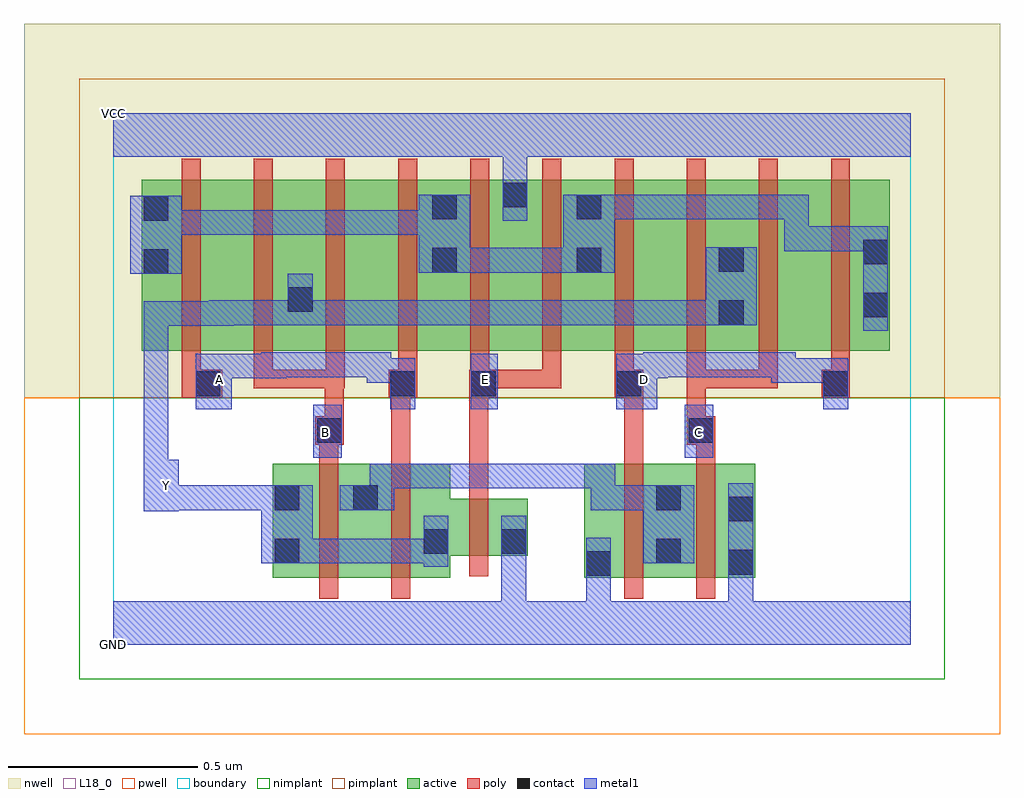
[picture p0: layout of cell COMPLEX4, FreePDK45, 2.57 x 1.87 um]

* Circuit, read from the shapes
.subckt COMPLEX4 A B C D E GND VCC Y
M1 n1 B Y VSUBS nfet w=0.3u l=0.05u
M2 Y A n1 VSUBS nfet w=0.3u l=0.05u
M3 GND E Y VSUBS nfet w=0.15u l=0.05u
M4 n1 D GND VSUBS nfet w=0.3u l=0.05u
M5 GND C n1 VSUBS nfet w=0.3u l=0.05u
M6 n2 A n3 n4 pfet w=0.45u l=0.05u
M7 Y B n2 n4 pfet w=0.45u l=0.05u
M8 n5 B Y n4 pfet w=0.45u l=0.05u
M9 n3 A n5 n4 pfet w=0.45u l=0.05u
M10 VCC E n3 n4 pfet w=0.45u l=0.05u m=2
M11 n6 D n3 n4 pfet w=0.45u l=0.05u
M12 Y C n6 n4 pfet w=0.45u l=0.05u
M13 n7 C Y n4 pfet w=0.45u l=0.05u
M14 n3 D n7 n4 pfet w=0.45u l=0.05u
.ends

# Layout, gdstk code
import gdstk
lib = gdstk.Library(unit=1e-6, precision=1e-09)
def R(c, l, rs):  # rectangles x0, y0, x1, y1
    for r in rs: c.add(gdstk.rectangle(r[:2], r[2:], *l))
def A(c, l, x, y, w, h, nx, ny, dx, dy):  # array of equal rectangles
    R(c, l, [(x+i*dx, y+j*dy, x+i*dx+w, y+j*dy+h) for i in range(nx) for j in range(ny)])
active = (1, 0)
pwell = (2, 0)
nwell = (3, 0)
nimplant = (4, 0)
pimplant = (5, 0)
poly = (9, 0)
contact = (10, 0)
metal1 = (11, 0)
L18_0 = (18, 0)
boundary = (235, 0)

complex4 = lib.new_cell('COMPLEX4')
R(complex4, active, [(0.42,0.177,0.702,0.477), (0.627,0.177,0.887,0.477), (1.24,0.177,1.315,0.477), (1.24,0.177,1.5,0.477), (1.425,0.177,1.69,0.477), (1.615,0.177,1.69,0.477), (0.42,0.2,0.495,0.477), (1.425,0.21,1.5,0.425), (0.812,0.235,1.092,0.385), (0.812,0.235,0.887,0.31), (1.017,0.235,1.092,0.385), (0.627,0.295,0.702,0.425), (0.075,0.775,0.15,1.2), (0.075,0.775,0.3,1.225), (0.3,0.775,0.53,1.225), (0.455,0.775,0.68,1.225), (0.68,0.775,0.91,1.225), (0.835,0.775,1.095,1.225), (1.02,0.775,1.29,1.225), (1.215,0.775,1.44,1.225), (1.44,0.775,1.665,1.225), (1.59,0.775,1.82,1.225), (1.59,0.775,1.665,1.07), (1.82,0.775,2.045,1.225), (1.97,0.775,2.045,1.2), (0.455,0.832,0.53,1.07), (0.835,0.857,0.91,1.2), (1.02,0.857,1.095,1.222), (1.215,0.857,1.29,1.2)])
R(complex4, pwell, [(-0.235,-0.235,2.335,0.65)])
R(complex4, nwell, [(-0.235,0.65,2.335,1.635)])
R(complex4, nimplant, [(-0.09,-0.09,2.19,0.65)])
R(complex4, pimplant, [(-0.09,0.65,2.19,1.49)])
A(complex4, poly, 0.18, 0.675, 0.05, 0.095, 10, 1, 0.19, 0)
A(complex4, poly, 0.18, 0.72, 0.05, 0.56, 10, 1, 0.19, 0)
R(complex4, poly, [(0.542,0.122,0.592,0.532), (0.732,0.122,0.782,0.532), (1.345,0.122,1.395,0.532), (1.535,0.122,1.585,0.532), (0.937,0.18,0.987,0.44), (0.937,0.39,0.987,0.7), (0.542,0.482,0.592,0.577), (0.732,0.482,0.782,0.7), (1.345,0.482,1.395,0.7), (1.535,0.482,1.585,0.577), (0.532,0.527,0.607,0.602), (1.51,0.527,1.585,0.602), (0.557,0.552,0.607,0.725), (1.51,0.552,1.56,0.725), (0.18,0.65,0.287,0.725), (0.725,0.65,0.8,0.725), (0.732,0.65,0.782,0.7), (0.732,0.65,0.782,0.7), (0.937,0.65,1.012,0.725), (1.32,0.65,1.395,0.725), (1.345,0.65,1.395,0.7), (1.345,0.65,1.395,0.7), (1.865,0.65,1.94,0.725), (0.37,0.675,0.42,0.725), (0.37,0.675,0.42,0.725), (0.37,0.675,0.42,0.725), (0.37,0.675,0.607,0.725), (0.557,0.675,0.61,0.725), (0.94,0.675,1.18,0.725), (0.94,0.675,0.99,0.725), (0.94,0.675,0.99,0.725), (1.13,0.675,1.18,0.725), (1.13,0.675,1.18,0.725), (1.13,0.675,1.18,0.725), (1.51,0.675,1.75,0.725), (1.51,0.675,1.56,0.725), (1.51,0.675,1.56,0.725), (1.51,0.675,1.56,0.725), (1.7,0.675,1.75,0.725)])
R(complex4, contact, [(1.245,0.182,1.31,0.247), (1.62,0.185,1.685,0.25), (0.425,0.215,0.49,0.28), (1.43,0.215,1.495,0.28), (0.817,0.24,0.882,0.305), (1.022,0.24,1.087,0.305), (1.62,0.325,1.685,0.39), (0.425,0.355,0.49,0.42), (0.632,0.355,0.697,0.42), (1.43,0.355,1.495,0.42), (0.537,0.532,0.602,0.597), (1.515,0.532,1.58,0.597), (0.217,0.655,0.282,0.72), (0.73,0.655,0.795,0.72), (0.942,0.655,1.007,0.72), (1.325,0.655,1.39,0.72), (1.87,0.655,1.935,0.72), (1.595,0.842,1.66,0.907), (1.975,0.862,2.04,0.927), (0.46,0.877,0.525,0.942), (0.08,0.977,0.145,1.042), (0.84,0.98,0.905,1.045), (1.22,0.98,1.285,1.045), (1.595,0.982,1.66,1.047), (1.975,1.002,2.04,1.067), (0.08,1.117,0.145,1.182), (0.84,1.12,0.905,1.185), (1.22,1.12,1.285,1.185), (1.025,1.152,1.09,1.217)])
R(complex4, metal1, [(0,0,2.1,0.115), (1.022,0.05,1.087,0.115), (1.022,0.05,1.087,0.115), (1.022,0.05,1.087,0.27), (1.245,0.05,1.31,0.212), (1.62,0.05,1.685,0.215), (1.245,0.147,1.31,0.212), (1.245,0.147,1.31,0.212), (1.245,0.147,1.31,0.282), (1.62,0.15,1.685,0.215), (1.62,0.15,1.685,0.215), (1.62,0.15,1.685,0.425), (0.817,0.205,0.882,0.34), (1.022,0.205,1.087,0.27), (1.022,0.205,1.087,0.27), (1.022,0.205,1.087,0.34), (0.39,0.215,0.525,0.42), (0.46,0.215,0.525,0.28), (0.46,0.215,0.525,0.28), (0.46,0.215,0.592,0.28), (0.527,0.215,0.592,0.28), (0.527,0.215,0.73,0.28), (0.665,0.215,0.73,0.28), (0.665,0.215,0.73,0.28), (0.665,0.215,0.73,0.28), (0.665,0.215,0.882,0.28), (1.395,0.215,1.53,0.42), (0.08,0.352,0.172,0.487), (0.107,0.355,0.317,0.42), (0.252,0.355,0.317,0.42), (0.252,0.355,0.317,0.42), (0.252,0.355,0.317,0.42), (0.252,0.355,0.455,0.42), (0.39,0.355,0.455,0.42), (0.39,0.355,0.455,0.42), (0.39,0.355,0.455,0.42), (0.39,0.355,0.455,0.42), (0.597,0.355,0.732,0.42), (0.667,0.355,0.74,0.42), (0.675,0.355,0.74,0.477), (1.257,0.355,1.46,0.42), (1.257,0.355,1.322,0.477), (0.675,0.412,0.95,0.477), (0.885,0.412,0.95,0.477), (0.885,0.412,0.95,0.477), (0.885,0.412,0.95,0.477), (0.885,0.412,1.087,0.477), (1.022,0.412,1.087,0.477), (1.022,0.412,1.087,0.477), (1.022,0.412,1.087,0.477), (1.022,0.412,1.322,0.477), (1.257,0.412,1.322,0.477), (1.257,0.412,1.322,0.477), (0.08,0.422,0.145,0.905), (0.527,0.492,0.602,0.632), (1.505,0.492,1.58,0.632), (0.217,0.62,0.312,0.767), (0.73,0.62,0.795,0.755), (0.942,0.62,1.012,0.767), (1.325,0.62,1.432,0.767), (1.87,0.62,1.935,0.755), (0.667,0.69,0.732,0.77), (0.667,0.69,0.795,0.755), (1.732,0.69,1.797,0.755), (1.732,0.69,1.797,0.755), (1.732,0.69,1.935,0.755), (1.732,0.69,1.797,0.77), (0.247,0.702,0.317,0.767), (0.252,0.702,0.317,0.767), (0.252,0.702,0.455,0.767), (0.39,0.702,0.455,0.767), (0.39,0.702,0.455,0.767), (0.39,0.702,0.455,0.77), (1.367,0.702,1.46,0.767), (1.395,0.702,1.46,0.77), (0.39,0.705,0.592,0.77), (0.527,0.705,0.592,0.77), (0.527,0.705,0.732,0.77), (1.395,0.705,1.66,0.77), (1.595,0.705,1.66,0.77), (1.595,0.705,1.66,0.77), (1.595,0.705,1.66,0.77), (1.595,0.705,1.797,0.77), (1.975,0.827,2.04,1.102), (0.08,0.84,0.145,0.905), (0.08,0.84,0.145,0.905), (0.08,0.84,0.145,0.905), (0.08,0.84,0.317,0.905), (0.252,0.84,0.317,0.905), (0.252,0.84,0.317,0.905), (0.252,0.84,0.317,0.907), (0.252,0.842,0.455,0.907), (0.39,0.842,0.455,0.907), (0.39,0.842,0.525,0.907), (0.46,0.842,0.525,0.977), (0.46,0.842,0.592,0.907), (0.527,0.842,0.592,0.907), (0.527,0.842,0.73,0.907), (0.665,0.842,0.73,0.907), (0.665,0.842,0.73,0.907), (0.665,0.842,0.73,0.907), (0.665,0.842,0.95,0.907), (0.885,0.842,0.95,0.907), (0.885,0.842,0.95,0.907), (0.885,0.842,0.95,0.907), (0.885,0.842,1.087,0.907), (1.022,0.842,1.087,0.907), (1.022,0.842,1.087,0.907), (1.022,0.842,1.087,0.907), (1.022,0.842,1.225,0.907), (1.16,0.842,1.225,0.907), (1.16,0.842,1.225,0.907), (1.16,0.842,1.225,0.907), (1.16,0.842,1.487,0.907), (1.422,0.842,1.487,0.907), (1.422,0.842,1.625,0.907), (1.56,0.842,1.625,0.907), (1.56,0.842,1.625,0.907), (1.56,0.842,1.695,1.047), (0.045,0.977,0.18,1.182), (0.805,0.98,0.94,1.185), (0.875,0.98,0.94,1.045), (0.875,0.98,0.94,1.045), (0.875,0.98,1.087,1.045), (1.022,0.98,1.087,1.045), (1.022,0.98,1.087,1.045), (1.022,0.98,1.087,1.045), (1.022,0.98,1.25,1.045), (1.185,0.98,1.32,1.185), (1.767,1.037,1.832,1.102), (1.767,1.037,2.04,1.102), (1.767,1.037,1.832,1.185), (1.975,1.037,2.04,1.102), (1.975,1.037,2.04,1.102), (0.115,1.08,0.317,1.145), (0.252,1.08,0.317,1.145), (0.252,1.08,0.317,1.145), (0.252,1.08,0.317,1.145), (0.252,1.08,0.455,1.145), (0.39,1.08,0.455,1.145), (0.39,1.08,0.455,1.145), (0.39,1.08,0.455,1.145), (0.39,1.08,0.592,1.145), (0.527,1.08,0.592,1.145), (0.527,1.08,0.73,1.145), (0.665,1.08,0.73,1.145), (0.665,1.08,0.73,1.145), (0.665,1.08,0.73,1.145), (0.665,1.08,0.87,1.145), (1.025,1.117,1.09,1.252), (1.255,1.12,1.32,1.185), (1.255,1.12,1.32,1.185), (1.255,1.12,1.487,1.185), (1.422,1.12,1.487,1.185), (1.422,1.12,1.66,1.185), (1.595,1.12,1.66,1.185), (1.595,1.12,1.66,1.185), (1.595,1.12,1.66,1.185), (1.595,1.12,1.797,1.185), (1.732,1.12,1.797,1.185), (1.732,1.12,1.832,1.185), (1.767,1.12,1.832,1.185), (1.025,1.187,1.09,1.35), (0,1.285,2.1,1.4)])
R(complex4, L18_0, [(0,0,2.1,0.115), (1.022,0.05,1.087,0.115), (1.022,0.05,1.087,0.115), (1.022,0.05,1.087,0.27), (1.245,0.05,1.31,0.212), (1.62,0.05,1.685,0.215), (1.245,0.147,1.31,0.212), (1.245,0.147,1.31,0.212), (1.245,0.147,1.31,0.282), (1.62,0.15,1.685,0.215), (1.62,0.15,1.685,0.215), (1.62,0.15,1.685,0.425), (0.817,0.205,0.882,0.34), (1.022,0.205,1.087,0.27), (1.022,0.205,1.087,0.27), (1.022,0.205,1.087,0.34), (0.39,0.215,0.525,0.42), (0.46,0.215,0.525,0.28), (0.46,0.215,0.525,0.28), (0.46,0.215,0.592,0.28), (0.527,0.215,0.592,0.28), (0.527,0.215,0.73,0.28), (0.665,0.215,0.73,0.28), (0.665,0.215,0.73,0.28), (0.665,0.215,0.73,0.28), (0.665,0.215,0.882,0.28), (0.08,0.352,0.172,0.487), (0.107,0.355,0.317,0.42), (0.252,0.355,0.317,0.42), (0.252,0.355,0.317,0.42), (0.252,0.355,0.317,0.42), (0.252,0.355,0.455,0.42), (0.39,0.355,0.455,0.42), (0.39,0.355,0.455,0.42), (0.39,0.355,0.455,0.42), (0.39,0.355,0.455,0.42), (0.107,0.387,0.172,0.452), (0.08,0.422,0.145,0.905), (0.527,0.492,0.602,0.632), (1.505,0.492,1.58,0.632), (0.527,0.527,0.592,0.592), (1.507,0.527,1.572,0.592), (0.217,0.62,0.312,0.767), (0.73,0.62,0.795,0.755), (0.942,0.62,1.012,0.767), (1.325,0.62,1.432,0.767), (1.87,0.62,1.935,0.755), (0.247,0.667,0.312,0.732), (0.947,0.667,1.012,0.732), (1.367,0.667,1.432,0.732), (0.667,0.69,0.732,0.77), (0.667,0.69,0.795,0.755), (1.732,0.69,1.797,0.755), (1.732,0.69,1.797,0.755), (1.732,0.69,1.935,0.755), (1.732,0.69,1.797,0.77), (0.247,0.702,0.317,0.767), (0.252,0.702,0.317,0.767), (0.252,0.702,0.455,0.767), (0.39,0.702,0.455,0.767), (0.39,0.702,0.455,0.767), (0.39,0.702,0.455,0.77), (1.367,0.702,1.46,0.767), (1.395,0.702,1.46,0.77), (0.39,0.705,0.592,0.77), (0.527,0.705,0.592,0.77), (0.527,0.705,0.732,0.77), (1.395,0.705,1.66,0.77), (1.595,0.705,1.66,0.77), (1.595,0.705,1.66,0.77), (1.595,0.705,1.66,0.77), (1.595,0.705,1.797,0.77), (0.08,0.84,0.145,0.905), (0.08,0.84,0.145,0.905), (0.08,0.84,0.145,0.905), (0.08,0.84,0.317,0.905), (0.252,0.84,0.317,0.905), (0.252,0.84,0.317,0.905), (0.252,0.84,0.317,0.907), (0.252,0.842,0.455,0.907), (0.39,0.842,0.455,0.907), (0.39,0.842,0.525,0.907), (0.46,0.842,0.525,0.977), (0.46,0.842,0.592,0.907), (0.527,0.842,0.592,0.907), (0.527,0.842,0.73,0.907), (0.665,0.842,0.73,0.907), (0.665,0.842,0.73,0.907), (0.665,0.842,0.73,0.907), (0.665,0.842,0.95,0.907), (0.885,0.842,0.95,0.907), (0.885,0.842,0.95,0.907), (0.885,0.842,0.95,0.907), (0.885,0.842,1.087,0.907), (1.022,0.842,1.087,0.907), (1.022,0.842,1.087,0.907), (1.022,0.842,1.087,0.907), (1.022,0.842,1.225,0.907), (1.16,0.842,1.225,0.907), (1.16,0.842,1.225,0.907), (1.16,0.842,1.225,0.907), (1.16,0.842,1.487,0.907), (1.422,0.842,1.487,0.907), (1.422,0.842,1.625,0.907), (1.56,0.842,1.625,0.907), (1.56,0.842,1.625,0.907), (1.56,0.842,1.695,1.047), (1.025,1.117,1.09,1.252), (1.025,1.187,1.09,1.35), (0,1.285,2.1,1.4)])
R(complex4, boundary, [(0,0,2.1,1.4)])
complex4.add(gdstk.Label('A', (0.28,0.7), layer=11, texttype=0))
complex4.add(gdstk.Label('B', (0.56,0.56), layer=11, texttype=0))
complex4.add(gdstk.Label('C', (1.54,0.56), layer=11, texttype=0))
complex4.add(gdstk.Label('D', (1.4,0.7), layer=11, texttype=0))
complex4.add(gdstk.Label('E', (0.98,0.7), layer=11, texttype=0))
complex4.add(gdstk.Label('Y', (0.14,0.42), layer=11, texttype=0))
complex4.add(gdstk.Label('VCC', (0,1.4), layer=11, texttype=0))
complex4.add(gdstk.Label('GND', (0,0), layer=11, texttype=0))

lib.write_gds('COMPLEX4.gds')
